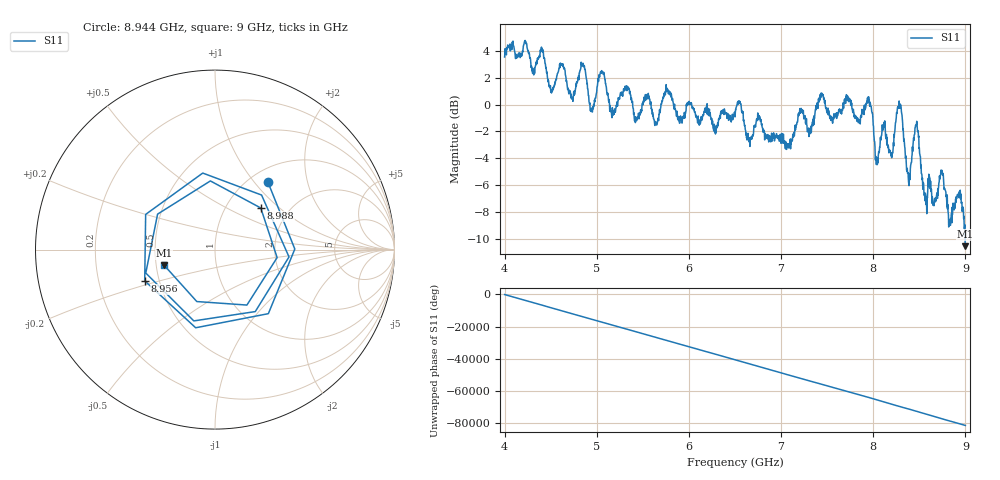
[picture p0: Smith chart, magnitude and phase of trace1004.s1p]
! Created with skrf 1.8.0 (http://scikit-rf.org).
# Hz S RI R 50.0
!freq ReS11 ImS11
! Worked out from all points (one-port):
!   1601 points, 4 GHz to 9 GHz, reference 50 ohm
!   lowest |S11| = -10.6 dB at 9 GHz (marker M1), VSWR 1.84, Z = 27.5 - j5.23 ohm
!   |S11| at or under -10 dB: 8.996387 GHz to end of sweep
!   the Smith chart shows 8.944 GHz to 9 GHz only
!   S11 on the Smith chart (normalised r, x): 8.944 GHz: 1.20, +1.18; 8.956 GHz: 0.42, -0.18; 8.988 GHz: 1.45, +0.76; 9 GHz: 0.55, -0.10
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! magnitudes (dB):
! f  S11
! 4 GHz  3.5
! 4.409 GHz  4.0
! 4.506 GHz  0.9
! 4.625 GHz  2.9
! 4.734 GHz  0.4
! 4.853 GHz  3.0
! 4.944 GHz  -0.3
! 5.05 GHz  2.3
! 5.162 GHz  -0.9
! 5.25 GHz  0.6
! 5.772 GHz  1.0
! 5.875 GHz  -0.9
! 6.5 GHz  -0.9
! 7.125 GHz  -2.5
! 7.431 GHz  0.8
! 7.75 GHz  0.3
! 7.956 GHz  0.3
! 8.044 GHz  -4.5
! 8.109 GHz  -1.8
! 8.197 GHz  -3.6
! 8.288 GHz  0.1
! 8.375 GHz  -5.1
! 8.469 GHz  -1.5
! 8.562 GHz  -7.2
! 8.944 GHz  -6.4
! 8.956 GHz  -7.4
! 8.988 GHz  -9.3
! 9 GHz  -10.6
